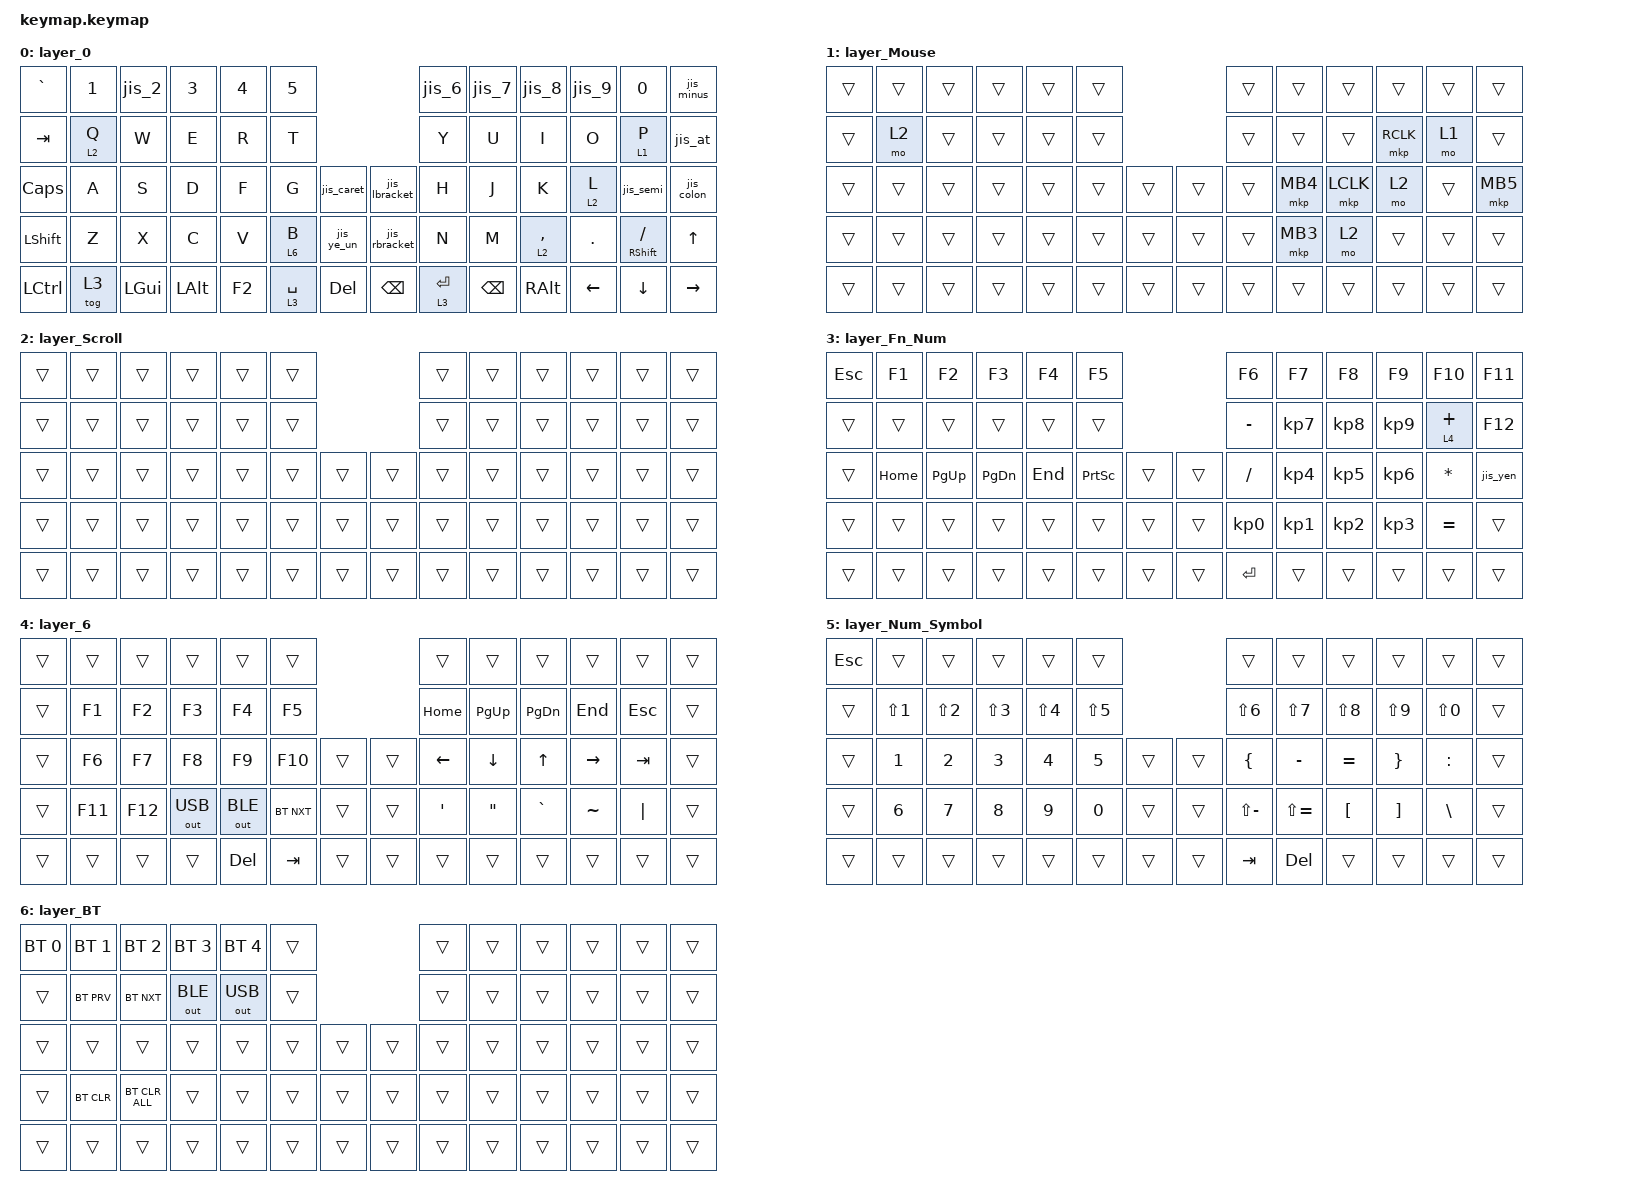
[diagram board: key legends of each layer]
#include <behaviors.dtsi>
#include <dt-bindings/zmk/bt.h>
#include <dt-bindings/zmk/keys.h>
#include <dt-bindings/zmk/outputs.h>
#include <dt-bindings/zmk/pointing.h>
#include <input/processors.dtsi>

// OS設定を日本語キーボードのまま使用するための変換定義

#define JP_DQUOTE       AT                // "
#define JP_AMPERSAND    CARET             // &
#define JP_QUOTE        AMPERSAND         // '
#define JP_EQUAL        UNDER             // =
#define JP_CARET        EQUAL             // ^
#define JP_YEN          0x89              // ¥  (INT3相当でもOK)
#define JP_PLUS         COLON             // +
#define JP_TILDE        PLUS              // ~
#define JP_PIPE         LS(0x89)          // |
#define JP_AT           LEFT_BRACKET      // @
#define JP_COLON        SINGLE_QUOTE      // :
#define JP_ASTERISK     DOUBLE_QUOTES     // *
#define JP_BACKQUOTE    LEFT_BRACE        // `
#define JP_UNDERSCORE   LS(0x87)          // _
#define JP_LBRACKET     RIGHT_BRACKET     // [
#define JP_RBRACKET     BACKSLASH         // ]
#define JP_LPAREN       ASTERISK          // (
#define JP_RPAREN       LEFT_PARENTHESIS  // )
#define JP_LBRACE       RIGHT_BRACE       // {
#define JP_RBRACE       PIPE              // }
#define JP_KANA         LANGUAGE_1        // かな
#define JP_EISU         LANGUAGE_2        // 英数
#define JP_HANZEN       GRAVE             // 半角/全角

/ {
    combos {
        compatible = "zmk,combos";

        bt_clear {
            bindings = <&bt BT_CLR>;
            key-positions = <28 29>;
            layers = <6>;
        };
    };

    behaviors {
        /* 2 -> " */

        jis_2: jis_2 {
            compatible = "zmk,behavior-mod-morph";
            #binding-cells = <0>;
            bindings = <&kp N2>, <&kp JP_DQUOTE>;

            mods = <(MOD_LSFT|MOD_RSFT)>;
        };

        /* 6 -> & */

        jis_6: jis_6 {
            compatible = "zmk,behavior-mod-morph";
            #binding-cells = <0>;
            bindings = <&kp N6>, <&kp JP_AMPERSAND>;

            mods = <(MOD_LSFT|MOD_RSFT)>;
        };

        /* 7 -> ' */

        jis_7: jis_7 {
            compatible = "zmk,behavior-mod-morph";
            #binding-cells = <0>;
            bindings = <&kp N7>, <&kp JP_QUOTE>;

            mods = <(MOD_LSFT|MOD_RSFT)>;
        };

        /* 8 -> ( */

        jis_8: jis_8 {
            compatible = "zmk,behavior-mod-morph";
            #binding-cells = <0>;
            bindings = <&kp N8>, <&kp JP_LPAREN>;

            mods = <(MOD_LSFT|MOD_RSFT)>;
        };

        /* 9 -> ) */

        jis_9: jis_9 {
            compatible = "zmk,behavior-mod-morph";
            #binding-cells = <0>;
            bindings = <&kp N9>, <&kp JP_RPAREN>;

            mods = <(MOD_LSFT|MOD_RSFT)>;
        };

        /* - -> = */

        jis_minus: jis_minus {
            compatible = "zmk,behavior-mod-morph";
            #binding-cells = <0>;
            bindings = <&kp MINUS>, <&kp JP_EQUAL>;

            mods = <(MOD_LSFT|MOD_RSFT)>;
        };

        /* ^ -> ~ */

        jis_caret: jis_caret {
            compatible = "zmk,behavior-mod-morph";
            #binding-cells = <0>;
            bindings = <&kp JP_CARET>, <&kp JP_TILDE>;

            mods = <(MOD_LSFT|MOD_RSFT)>;
        };

        /* ¥ -> | */

        jis_yen: jis_yen {
            compatible = "zmk,behavior-mod-morph";
            #binding-cells = <0>;
            bindings = <&kp JP_YEN>, <&kp JP_PIPE>;

            mods = <(MOD_LSFT|MOD_RSFT)>;
        };

        /* ¥ -> _ */

        jis_ye_un: jis_ye_un {
            compatible = "zmk,behavior-mod-morph";
            #binding-cells = <0>;
            bindings = <&kp JP_YEN>, <&kp JP_UNDERSCORE>;

            mods = <(MOD_LSFT|MOD_RSFT)>;
        };

        /* @ -> ` */

        jis_at: jis_at {
            compatible = "zmk,behavior-mod-morph";
            #binding-cells = <0>;
            bindings = <&kp JP_AT>, <&kp JP_BACKQUOTE>;

            mods = <(MOD_LSFT|MOD_RSFT)>;
        };

        /* ; -> + */

        jis_semi: jis_semi {
            compatible = "zmk,behavior-mod-morph";
            #binding-cells = <0>;
            bindings = <&kp SEMI>, <&kp JP_PLUS>;

            mods = <(MOD_LSFT|MOD_RSFT)>;
        };

        /* : -> * */

        jis_colon: jis_colon {
            compatible = "zmk,behavior-mod-morph";
            #binding-cells = <0>;
            bindings = <&kp JP_COLON>, <&kp JP_ASTERISK>;

            mods = <(MOD_LSFT|MOD_RSFT)>;
        };

        /* [ -> { */

        jis_lbracket: jis_lbracket {
            compatible = "zmk,behavior-mod-morph";
            #binding-cells = <0>;
            bindings = <&kp JP_LBRACKET>, <&kp JP_LBRACE>;

            mods = <(MOD_LSFT|MOD_RSFT)>;
        };

        /* ] -> } */

        jis_rbracket: jis_rbracket {
            compatible = "zmk,behavior-mod-morph";
            #binding-cells = <0>;
            bindings = <&kp JP_RBRACKET>, <&kp JP_RBRACE>;

            mods = <(MOD_LSFT|MOD_RSFT)>;
        };
    };

    keymap {
        compatible = "zmk,keymap";

        layer_0 {
            bindings = <
&kp JP_HANZEN  &kp N1   &jis_2    &kp N3    &kp N4  &kp N5                                  &jis_6       &jis_7    &jis_8       &jis_9          &kp N0                &jis_minus
&kp TAB        &lt 2 Q  &kp W     &kp E     &kp R   &kp T                                   &kp Y        &kp U     &kp I        &kp O           &lt 1 P               &jis_at
&kp CAPS       &kp A    &kp S     &kp D     &kp F   &kp G        &jis_caret  &jis_lbracket  &kp H        &kp J     &kp K        &lt 2 L         &jis_semi             &jis_colon
&kp LSHFT      &kp Z    &kp X     &kp C     &kp V   &lt 6 B      &jis_ye_un  &jis_rbracket  &kp N        &kp M     &lt 2 COMMA  &kp DOT         &mt RIGHT_SHIFT FSLH  &kp UP_ARROW
&kp LCTRL      &tog 3   &kp LGUI  &kp LALT  &kp F2  &lt 3 SPACE  &kp DEL     &kp BACKSPACE  &lt 3 ENTER  &kp BSPC  &kp RALT     &kp LEFT_ARROW  &kp DOWN_ARROW        &kp RIGHT_ARROW
            >;
        };

        layer_Mouse {
            bindings = <
&trans  &trans  &trans  &trans     &trans     &trans                    &trans  &trans    &trans     &trans    &trans   &trans
&trans  &mo 2   &trans  &trans     &trans     &trans                    &trans  &trans    &trans     &mkp RCLK &mo 1    &trans
&trans  &trans  &trans  &trans     &trans     &trans    &trans  &trans  &trans  &mkp MB4  &mkp LCLK  &mo 2     &trans   &mkp MB5
&trans  &trans  &trans  &trans     &trans     &trans    &trans  &trans  &trans  &mkp MB3  &mo 2      &trans    &trans   &trans
&trans  &trans  &trans  &trans     &trans     &trans    &trans  &trans  &trans  &trans    &trans     &trans    &trans   &trans
            >;
        };

        layer_Scroll {
            bindings = <
&trans  &trans  &trans  &trans     &trans     &trans                    &trans    &trans     &trans     &trans  &trans   &trans
&trans  &trans  &trans  &trans     &trans     &trans                    &trans    &trans     &trans     &trans  &trans   &trans
&trans  &trans  &trans  &trans     &trans     &trans    &trans  &trans  &trans    &trans     &trans     &trans  &trans   &trans
&trans  &trans  &trans  &trans     &trans     &trans    &trans  &trans  &trans    &trans     &trans     &trans  &trans   &trans
&trans  &trans  &trans  &trans     &trans     &trans    &trans  &trans  &trans    &trans     &trans     &trans  &trans   &trans
            >;
        };

        layer_Fn_Num {
            bindings = <
&kp ESC  &kp F1    &kp F2     &kp F3     &kp F4   &kp F5                           &kp F6           &kp F7           &kp F8           &kp F9           &kp F10       &kp F11
&trans   &trans    &trans     &trans     &trans   &trans                           &kp MINUS        &kp KP_NUMBER_7  &kp KP_NUMBER_8  &kp KP_NUMBER_9  &lt 4 PLUS    &kp F12
&trans   &kp HOME  &kp PG_UP  &kp PG_DN  &kp END  &kp PRINTSCREEN  &trans  &trans  &kp SLASH        &kp KP_NUMBER_4  &kp KP_NUMBER_5  &kp KP_NUMBER_6  &kp ASTERISK  &jis_yen
&trans   &trans    &trans     &trans     &trans   &trans           &trans  &trans  &kp KP_NUMBER_0  &kp KP_NUMBER_1  &kp KP_NUMBER_2  &kp KP_NUMBER_3  &kp EQUAL     &trans
&trans   &trans    &trans     &trans     &trans   &trans           &trans  &trans  &kp ENTER        &trans           &trans           &trans           &trans        &trans
            >;
        };

        layer_6 {
            bindings = <
&trans  &trans   &trans   &trans        &trans        &trans                      &trans            &trans     &trans         &trans     &trans      &trans
&trans  &kp F1   &kp F2   &kp F3        &kp F4        &kp F5                      &kp HOME          &kp PG_UP  &kp PAGE_DOWN  &kp END    &kp ESCAPE  &trans
&trans  &kp F6   &kp F7   &kp F8        &kp F9        &kp F10     &trans  &trans  &kp LEFT          &kp DOWN   &kp UP_ARROW   &kp RIGHT  &kp TAB     &trans
&trans  &kp F11  &kp F12  &out OUT_USB  &out OUT_BLE  &bt BT_NXT  &trans  &trans  &kp SINGLE_QUOTE  &kp DQT    &kp GRAVE      &kp TILDE  &kp PIPE    &trans
&trans  &trans   &trans   &trans        &kp DELETE    &kp TAB     &trans  &trans  &trans            &trans     &trans         &trans     &trans      &trans
            >;
        };

        layer_Num_Symbol {
            bindings = <
&kp ESC  &trans            &trans            &trans      &trans      &trans                      &trans          &trans         &trans            &trans             &trans         &trans
&trans   &kp LS(NUMBER_1)  &kp LS(NUMBER_2)  &kp LS(N3)  &kp LS(N4)  &kp LS(N5)                  &kp LS(N6)      &kp LS(N7)     &kp LS(N8)        &kp LS(N9)         &kp LS(N0)     &trans
&trans   &kp N1            &kp N2            &kp N3      &kp N4      &kp N5      &trans  &trans  &kp LEFT_BRACE  &kp MINUS      &kp EQUAL         &kp RIGHT_BRACE    &kp COLON      &trans
&trans   &kp N6            &kp N7            &kp N8      &kp N9      &kp N0      &trans  &trans  &kp LS(MINUS)   &kp LS(EQUAL)  &kp LEFT_BRACKET  &kp RIGHT_BRACKET  &kp BACKSLASH  &trans
&trans   &trans            &trans            &trans      &trans      &trans      &trans  &trans  &kp TAB         &kp DEL        &trans            &trans             &trans         &trans
            >;
        };

        layer_BT {
            bindings = <
&bt BT_SEL 0  &bt BT_SEL 1  &bt BT_SEL 2   &bt BT_SEL 3  &bt BT_SEL 4  &trans                  &trans  &trans  &trans  &trans  &trans  &trans
&trans        &bt BT_PRV    &bt BT_NXT     &out OUT_BLE  &out OUT_USB  &trans                  &trans  &trans  &trans  &trans  &trans  &trans
&trans        &trans        &trans         &trans        &trans        &trans  &trans  &trans  &trans  &trans  &trans  &trans  &trans  &trans
&trans        &bt BT_CLR    &bt BT_CLR_ALL &trans        &trans        &trans  &trans  &trans  &trans  &trans  &trans  &trans  &trans  &trans
&trans        &trans        &trans         &trans        &trans        &trans  &trans  &trans  &trans  &trans  &trans  &trans  &trans  &trans
            >;
        };
    };
};

/* Trackball移動によるAML発火用: &pointing_listener が使うthreshold付き temp layer */
/ {
    zip_temp_layer_threshold: zip_temp_layer_threshold {
        compatible = "zmk,input-processor-temp-layer-threshold";
        #input-processor-cells = <2>;

        threshold = <10>;
        reset-timeout-ms = <200>;
        require-prior-idle-ms = <250>;

        excluded-positions = <
            13 /* Q : mo 2 */
            21 /* O : RCLK */
            22 /* P : mo 2 */
            33 /* J : MB4 */
            34 /* K : LCLK */
            35 /* L : mo 2 */
            37 /* : : MB5 */
            47 /* M : MB3 */
            48 /* , : mo 2 */

            38 /* Left Shift */
            52 /* Left Ctrl */
            55 /* Left Alt */
        >;
    };
};

&mkp_input_listener {
    input-processors = <&zip_temp_layer 1 400>;
};

